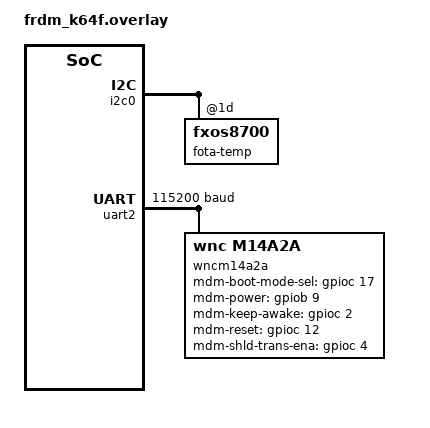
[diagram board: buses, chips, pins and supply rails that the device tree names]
&flash0 {
	partitions {
		credentials_partition: partition@10000 {
			label = "lwm2m-credentials";
			reg = <0x00010000 0x00001000>;
		};
	};
};

&i2c0 {
	fxos8700@1d {
		label = "fota-temp";
	};
};

&uart2 {
	status = "ok";
	hw-flow-control;
	current-speed = <115200>;

	wncm14a2a {
		compatible = "wnc,m14a2a";
		label = "wncm14a2a";
		mdm-boot-mode-sel-gpios = <&gpioc 17 0>;
		mdm-power-gpios = <&gpiob 9 0>;
		mdm-keep-awake-gpios = <&gpioc 2 0>;
		mdm-reset-gpios = <&gpioc 12 0>;
		mdm-shld-trans-ena-gpios = <&gpioc 4 0>;
		status = "ok";
	};
};
